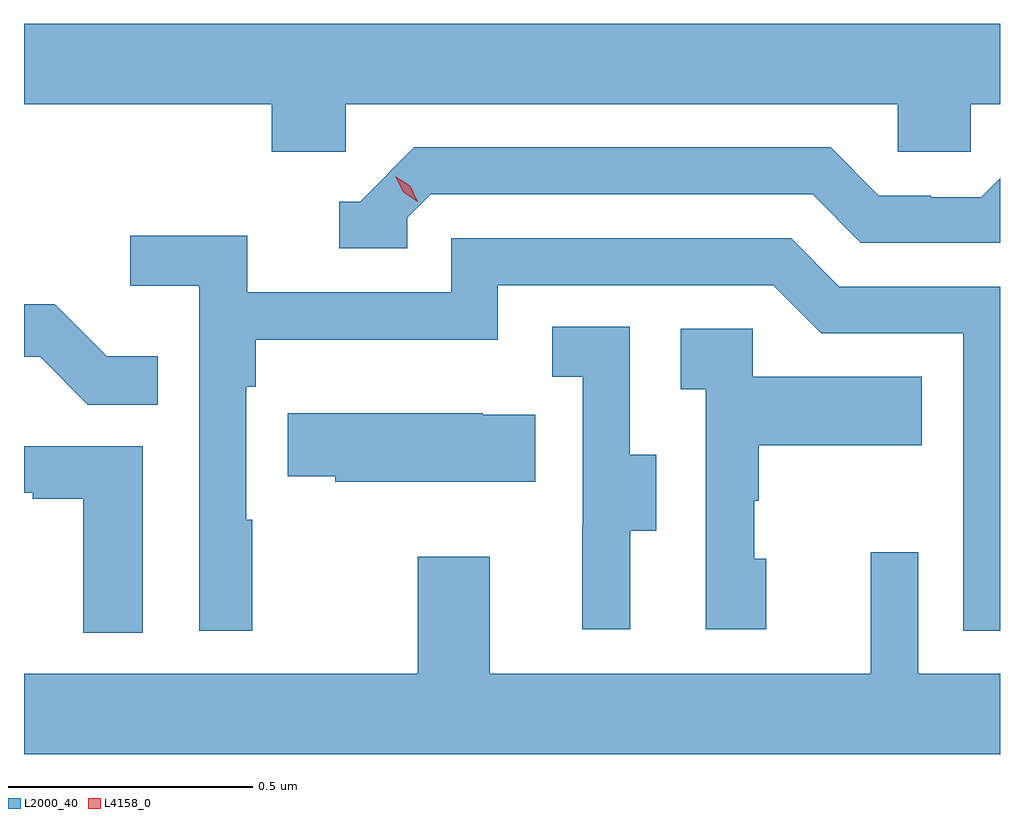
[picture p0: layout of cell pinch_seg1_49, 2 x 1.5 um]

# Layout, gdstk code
import gdstk
lib = gdstk.Library(unit=1e-6, precision=1e-09)
def P(c, l, *ps):  # polygons
    for p in ps: c.add(gdstk.Polygon(p, *l))
L2000_40 = (2000, 40)
L4158_0 = (4158, 0)

pinch_seg1_49 = lib.new_cell('pinch_seg1_49')
P(pinch_seg1_49, L2000_40, [(1067.886,573.044),(1069.017,573.044),(1069.017,572.946),(1069.167,572.946),(1069.167,573.044),(1069.227,573.044),(1069.227,573.208),(1067.227,573.208),(1067.227,573.044),(1067.735,573.044),(1067.735,572.946),(1067.886,572.946)],
  [(1068.012,572.811),(1068.06,572.859),(1068.843,572.859),(1068.942,572.76),(1069.227,572.76),(1069.227,572.892),(1069.189,572.853),(1069.086,572.853),(1069.086,572.856),(1068.979,572.856),(1068.88,572.955),(1068.027,572.955),(1067.916,572.844),(1067.873,572.844),(1067.873,572.748),(1068.012,572.748)],
  [(1067.695,572.192),(1067.682,572.192),(1067.682,572.465),(1067.702,572.465),(1067.702,572.561),(1068.198,572.561),(1068.198,572.673),(1068.762,572.673),(1068.861,572.574),(1069.152,572.574),(1069.152,571.965),(1069.227,571.965),(1069.227,572.67),(1068.898,572.67),(1068.799,572.769),(1068.102,572.769),(1068.102,572.658),(1067.684,572.658),(1067.684,572.774),(1067.445,572.774),(1067.445,572.672),(1067.586,572.672),(1067.586,571.965),(1067.695,571.965)],
  [(1067.501,572.527),(1067.397,572.527),(1067.29,572.634),(1067.227,572.634),(1067.227,572.526),(1067.26,572.526),(1067.358,572.428),(1067.501,572.428)],
  [(1068.469,572.17),(1068.523,572.17),(1068.523,572.325),(1068.468,572.325),(1068.468,572.588),(1068.309,572.588),(1068.309,572.485),(1068.372,572.485),(1068.372,572.181),(1068.371,572.181),(1068.371,571.968),(1068.469,571.968)],
  [(1068.748,572.112),(1068.723,572.112),(1068.723,572.231),(1068.733,572.231),(1068.733,572.345),(1069.067,572.345),(1069.067,572.485),(1068.72,572.485),(1068.72,572.583),(1068.573,572.583),(1068.573,572.459),(1068.624,572.459),(1068.624,571.968),(1068.748,571.968)],
  [(1068.275,572.407),(1068.167,572.407),(1068.167,572.41),(1067.767,572.41),(1067.767,572.281),(1067.865,572.281),(1067.865,572.27),(1068.275,572.27)],
  [(1067.47,572.343),(1067.227,572.343),(1067.227,572.247),(1067.245,572.247),(1067.245,572.235),(1067.348,572.235),(1067.348,571.961),(1067.47,571.961)],
  [(1069.227,571.876),(1069.059,571.876),(1069.059,572.125),(1068.962,572.125),(1068.962,571.876),(1068.181,571.876),(1068.181,572.116),(1068.034,572.116),(1068.034,571.876),(1067.227,571.876),(1067.227,571.712),(1069.227,571.712)])
P(pinch_seg1_49, L4158_0, [(1068.034,572.844),(1068.004,572.863),(1067.988,572.896),(1067.988,572.896),(1067.988,572.896),(1068.019,572.876),(1068.034,572.844),(1068.034,572.844)])

lib.write_gds('pinch_seg1_49.gds')
